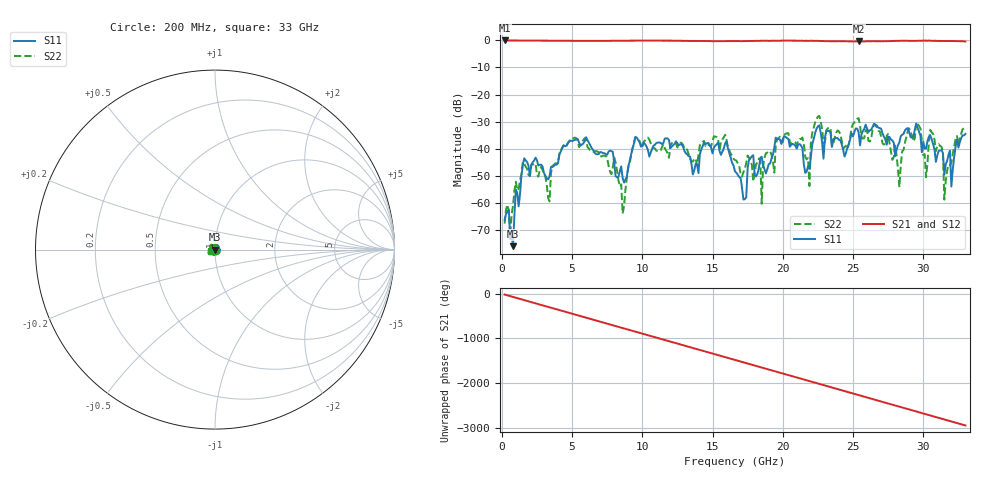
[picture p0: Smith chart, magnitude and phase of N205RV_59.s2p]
# GHZ S RI R 50
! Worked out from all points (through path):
!   329 points, 200 MHz to 33 GHz, reference 50 ohm
!   highest |S21| = -0.01 dB at 200 MHz (marker M1); lowest = -0.4 dB at 25.4 GHz (marker M2)
!   group delay of S21, straight-line fit = 248 ps
!   lowest |S11| = -76.0 dB at 800 MHz (marker M3), VSWR 1.00, Z = 50 + j0.0101 ohm
!   |S11| at or under -10 dB: start of sweep to end of sweep
!   |S22| runs from -72.1 to -27.9 dB; largest |S21 - S12| = 0.0019
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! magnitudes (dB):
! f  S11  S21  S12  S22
! 200 MHz  -66.3  0.0  0.0  -67.7
! 800 MHz  -76.0  0.0  0.0  -61.0
! 1.6 GHz  -43.6  0.0  0.0  -45.4
! 3.4 GHz  -50.3  -0.1  -0.1  -59.5
! 5.7 GHz  -38.5  -0.2  -0.2  -37.4
! 8 GHz  -45.2  -0.1  -0.1  -43.3
! 8.6 GHz  -50.8  -0.1  -0.1  -63.9
! 9.5 GHz  -35.8  -0.1  -0.1  -35.7
! 11.2 GHz  -37.7  -0.1  -0.1  -40.9
! 16.6 GHz  -48.4  -0.3  -0.3  -44.2
! 18.4 GHz  -43.4  -0.1  -0.1  -44.4
! 18.5 GHz  -43.0  -0.1  -0.1  -60.4
! 20.2 GHz  -35.7  -0.1  -0.1  -34.5
! 21.9 GHz  -47.5  -0.2  -0.2  -53.8
! 22.1 GHz  -38.3  -0.1  -0.1  -34.1
! 25.4 GHz  -34.0  -0.4  -0.4  -28.7
! 27.6 GHz  -35.7  -0.2  -0.2  -37.9
! 28.3 GHz  -37.6  -0.2  -0.2  -54.3
! 30.5 GHz  -35.1  -0.1  -0.1  -33.1
! 31.4 GHz  -41.5  -0.2  -0.2  -41.1
! 31.5 GHz  -49.5  -0.2  -0.2  -58.8
! 33 GHz  -34.5  -0.4  -0.4  -32.1
